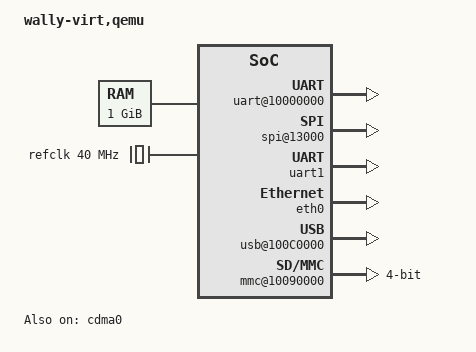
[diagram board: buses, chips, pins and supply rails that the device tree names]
/dts-v1/;

/ {
  #address-cells = <0x02>;
  #size-cells = <0x02>;
  compatible = "wally-virt"; //FIXME
  model = "wally-virt,qemu"; //FIXME

  chosen {
    stdout-path = "/soc/uart@10000000";
    #address-cells = <2>;
    #size-cells = <2>;
    ranges;

    //320 x 240
    //framebuffer0: framebuffer@84040000 {
    framebuffer0: framebuffer@85040000 {
      compatible = "simple-framebuffer";
      //reg = <0x0 0x84040000 0x0 0x00025800>;
      reg = <0x0 0x85040000 0x0 0x00025800>;
      width = <320>;
      height = <240>;
      stride = <640>;  // 320 * 2
      format = "r5g6b5";
      /* Necessary to guess initialization settings*/
      clocks = <&busclk>;
    };

  };

  memory@80000000 {
    device_type = "memory";
    reg = <0x00 0x80000000 0x00 0x40000000>;
  };

  cpus {
    #address-cells = <0x01>;
    #size-cells = <0x00>;
    clock-frequency = <40000000>;
    timebase-frequency = <40000000>;

    cpu@0 {
      phandle = <0x01>;
      device_type = "cpu";
      reg = <0x00>;
      status = "okay";
      compatible = "riscv";
      riscv,isa-base = "rv64i";
      riscv,isa-extensions = "i", "m", "a", "f", "d", "c", "sstc", "svade", "svadu", "svinval", "svnapot", "svpbmt", "zba", "zbb", "zbc", "zbs", "zca", "zcb", "zcd", "zfa", "zfh", "zkn", "zkt", "zicbom", "zicboz", "zicntr", "zicond", "zicsr", "zifencei", "zihpm";
      riscv,cboz-block-size = <64>;
      riscv,cbom-block-size = <64>;
      mmu-type = "riscv,sv48";

      interrupt-controller {
        #interrupt-cells = <0x01>;
        interrupt-controller;
        compatible = "riscv,cpu-intc";
        phandle = <0x02>;
      };
    };
  };

  soc {
    #address-cells = <0x02>;
    #size-cells = <0x02>;
    compatible = "simple-bus";
    ranges;

    refclk: refclk {
      #clock-cells = <0>;
      compatible = "fixed-clock";
      clock-frequency = <40000000>;
      clock-output-names = "xtal";
    };

    gpio0: gpio@10060000 {
      compatible = "sifive,gpio0";
      interrupt-parent = <&plic>;
      interrupts = <3>;
      reg = <0x00 0x10060000 0x00 0x1000>;
      reg-names = "control";
      gpio-controller;
      #gpio-cells = <2>;
      interrupt-controller;
      #interrupt-cells = <2>;
    };

    uart@10000000 {
      interrupts = <0x0a>;
      interrupt-parent = <&plic>;
      clocks = <&busclk>;
      reg = <0x00 0x10000000 0x00 0x100>;
      compatible = "ns16550a";
    };

    plic: plic@c000000 {
      phandle = <0x03>;
      riscv,ndev = <0x35>;
      reg = <0x00 0xc000000 0x00 0x210000>;
      interrupts-extended = <0x02 0x0b 0x02 0x09>;
      interrupt-controller;
      compatible = "sifive,plic-1.0.0\0riscv,plic0";
      #interrupt-cells = <0x01>;
      #address-cells = <0x00>;
    };

    spi@13000 {
      compatible = "sifive,spi0";
      interrupt-parent = <&plic>;
      interrupts = <0x14>;
      reg = <0x0 0x13000 0x0 0x1000>;
      reg-names = "control";
      clocks = <&busclk>;

      sifive,fifo-depth = <64>;

      #address-cells = <1>;
      #size-cells = <0>;
      // Currently disabled in u-boot => AXI SDHCI peripheral is mmc0
      /*
      mmc@0 {
        compatible = "mmc-spi-slot";
        reg = <0>;
        spi-max-frequency = <15000000>;
        voltage-ranges = <3300 3300>;
        disable-wp;
      };
      */
    };

    clint@2000000 {
      interrupts-extended = <0x02 0x03 0x02 0x07>;
      reg = <0x00 0x2000000 0x00 0x10000>;
      compatible = "sifive,clint0\0riscv,clint0";
    };

    uart1: uart@11004000 {
        compatible = "ns16550a";
        reg = <0x0 0x11004000 0x0 0x1000>;

        interrupt-parent = <&plic>;
        interrupts = <0x0b>; // 11

        clocks = <&busclk>;
        reg-shift = <0>;
        reg-io-width = <1>;

        status = "okay";
    };

    eth0: ethernet@100D3000 {
        compatible = "litex,liteeth";

        reg = <0x0 0x100D3000 0x0 0x100>,   // mac  (csr+0x1000)
                <0x0 0x100D2800 0x0 0x100>,   // mdio (csr+0x0800)
                <0x0 0x100D0000 0x0 0x2000>;  // buffer
        reg-names = "mac", "mdio", "buffer";

        interrupt-parent = <&plic>;
        interrupts = <15>;

        litex,rx-slots  = <2>;
        litex,tx-slots  = <2>;
        litex,slot-size = <0x800>;

        status = "okay";
    };

    busclk: busclk {
      #clock-cells = <0>;
      compatible = "fixed-clock";
      clock-frequency = <100000000>;
      clock-output-names = "busclk";
    };

    cdma0: dma@100A0000 {
        compatible = "xlnx,axi-cdma-1.00.a";
        reg = <0x0 0x100A0000 0x0 0x1000>;

        #dma-cells = <1>;
        xlnx,addrwidth = <0x20>; // 32-bit addresses
        status = "okay";

        clock-names = "s_axi_lite_aclk", "m_axi_aclk", "axi_aclk";
        clocks = <&busclk>, <&busclk>, <&busclk>;

        // Mark non-coherent
        dma-noncoherent;

        interrupt-parent = <&plic>;
        interrupts = <13>;

        dma-channel@100A0000 {
            compatible = "xlnx,axi-cdma-channel";
            interrupts = <13>;
            xlnx,datawidth = <0x40>; // 64-bit datapath
            xlnx,device-id = <0>;
            xlnx,max-burst-len = <0x10>;
        };
    };

    usb@100C0000 {
        compatible = "generic-ohci";
        reg = <0x0 0x100C0000 0x0 0x1000>;
        interrupt-parent = <&plic>;
        interrupts = <14>;
        dma-noncoherent;
    };

    // SDHCI base clock (divided in Hw)
    sdhci_clk: sdhci-clk {
        #clock-cells = <0>;
        compatible = "fixed-factor-clock";
        clocks = <&busclk>;
        clock-div = <4>;
        clock-mult = <1>;
        clock-output-names = "sdhci_clk";
    };

    mmc@10090000 {
        #address-cells = <0x00000001>;
        #size-cells = <0x00000000>;
        reg = <0x00000000 0x10090000 0x00000000 0x00002000>;
        compatible = "nuvoton,npcm750-sdhci";
        bus-width = <4>;
        clocks = <&sdhci_clk>;
        max-frequency = <15000000>;
        disable-wp;
        no-1-8-v;
        interrupts = <17>;
        interrupt-parent = <&plic>;
    };
    
  };

  reserved-memory {
    #address-cells = <2>;
    #size-cells = <2>;
    ranges;

    uncached_memory_usb: uncached-memory@84000000 {
        reg = <0x0 0x84000000 0x0 0x00040000>; // 256 KiB uncached DDR
        no-map;
    };

    uncached_memory_idma: idma-desc@84040000 {
            reg = <0x0 0x84040000 0x0 0x00004000>; //16 KB
            no-map;
    };

    uncached_rest@84044000 {
        reg = <0x0 0x84044000 0x0 0x000BC000>;
        no-map;
    };

    framebuffer@85040000 {
        reg = <0x0 0x85040000 0x0 0x000C0000>; // 768 KiB reserved
        no-map;
    };

    dmabuffer@c {
        compatible = "shared-dma-pool"; // for later DMA use
        reg = <0x0 0xBFE00000 0x0 0x00100000>; // 1 MiB reserved
        no-map;
    };

    // Prevent it from using this region
    opensbi@80000000 {
        reg = <0x0 0x80000000  0x0 0x0080000>; // 512 Kib
        no-map;
    };

  };
    

};
